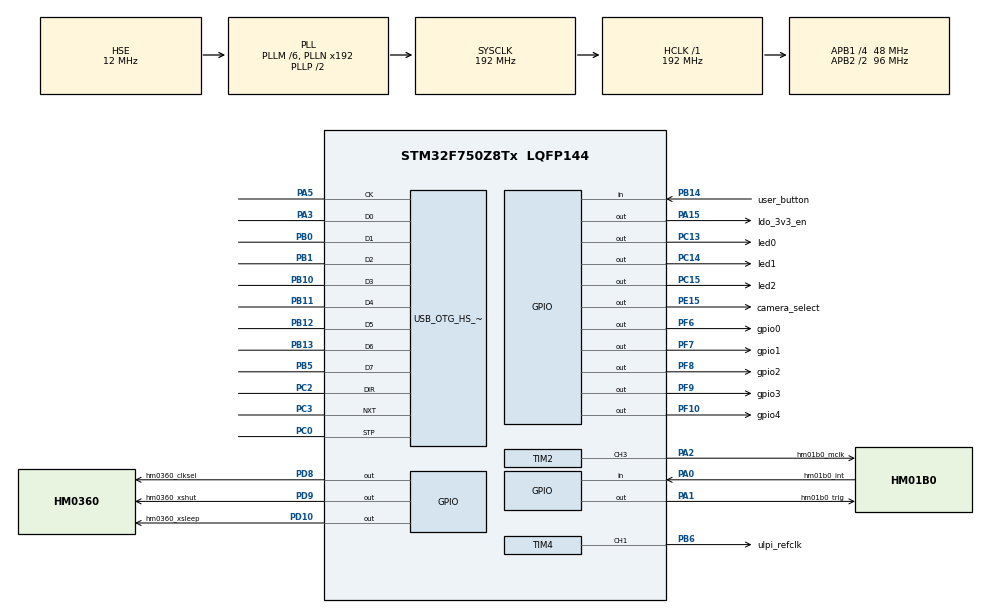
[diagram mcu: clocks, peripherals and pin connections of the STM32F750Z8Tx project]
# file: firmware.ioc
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Mcu.Family=STM32F7
Mcu.Name=STM32F750Z8Tx
Mcu.Package=LQFP144
NVIC.OTG_HS_IRQn=true\:0\:0\:false\:false\:true\:false\:true\:true
NVIC.PriorityGroup=NVIC_PRIORITYGROUP_4
NVIC.TIM3_IRQn=true\:15\:0\:false\:false\:true\:false\:true\:true
NVIC.TimeBase=TIM3_IRQn
NVIC.TimeBaseIP=TIM3
PA0/WKUP.GPIO_Label=hm01b0_int
PA0/WKUP.GPIO_PuPd=GPIO_PULLDOWN
PA0/WKUP.Signal=GPIO_Input
PA1.GPIO_Label=hm01b0_trig
PA1.Signal=GPIO_Output
PA13.Mode=Serial_Wire
PA13.Signal=SYS_JTMS-SWDIO
PA14.Mode=Serial_Wire
PA14.Signal=SYS_JTCK-SWCLK
PA15.GPIO_Label=ldo_3v3_en
PA15.Signal=GPIO_Output
PA2.GPIO_Label=hm01b0_mclk
PA2.GPIO_Speed=GPIO_SPEED_FREQ_HIGH
PA2.Signal=S_TIM2_CH3
PA3.Mode=Device_HS
PA3.Signal=USB_OTG_HS_ULPI_D0
PA5.Mode=Device_HS
PA5.Signal=USB_OTG_HS_ULPI_CK
PB0.Mode=Device_HS
PB0.Signal=USB_OTG_HS_ULPI_D1
PB1.Mode=Device_HS
PB1.Signal=USB_OTG_HS_ULPI_D2
PB10.Mode=Device_HS
PB10.Signal=USB_OTG_HS_ULPI_D3
PB11.Mode=Device_HS
PB11.Signal=USB_OTG_HS_ULPI_D4
PB12.Mode=Device_HS
PB12.Signal=USB_OTG_HS_ULPI_D5
PB13.Mode=Device_HS
PB13.Signal=USB_OTG_HS_ULPI_D6
PB14.GPIO_Label=user_button
PB14.GPIO_PuPd=GPIO_PULLUP
PB14.Signal=GPIO_Input
PB3.Signal=SYS_JTDO-SWO
PB5.Mode=Device_HS
PB5.Signal=USB_OTG_HS_ULPI_D7
PB6.GPIO_Label=ulpi_refclk
PB6.GPIO_Speed=GPIO_SPEED_FREQ_HIGH
PB6.Signal=S_TIM4_CH1
PC0.Mode=Device_HS
PC0.Signal=USB_OTG_HS_ULPI_STP
PC13.GPIO_Label=led0
PC13.Signal=GPIO_Output
PC14/OSC32_IN.GPIO_Label=led1
PC14/OSC32_IN.Signal=GPIO_Output
PC15/OSC32_OUT.GPIO_Label=led2
PC15/OSC32_OUT.Signal=GPIO_Output
PC2.Mode=Device_HS
PC2.Signal=USB_OTG_HS_ULPI_DIR
PC3.Mode=Device_HS
PC3.Signal=USB_OTG_HS_ULPI_NXT
PD10.GPIO_Label=hm0360_xsleep
PD10.Signal=GPIO_Output
PD8.GPIO_Label=hm0360_clksel
PD8.Signal=GPIO_Output
PD9.GPIO_Label=hm0360_xshut
PD9.Signal=GPIO_Output
PE11.GPIO_Label=hm0360_mclk
PE11.GPIO_Speed=GPIO_SPEED_FREQ_HIGH
PE11.Signal=S_TIM1_CH2
PE13.GPIO_Label=hm0360_trig
PE13.Signal=S_TIM1_CH3
PE14.GPIO_Label=hm0360_int
PE14.Signal=S_TIM1_CH4
PE15.GPIO_Label=camera_select
PE15.Signal=GPIO_Output
PF10.GPIO_Label=gpio4
PF10.Signal=GPIO_Output
PF6.GPIO_Label=gpio0
PF6.Signal=GPIO_Output
PF7.GPIO_Label=gpio1
PF7.Signal=GPIO_Output
PF8.GPIO_Label=gpio2
PF8.Signal=GPIO_Output
PF9.GPIO_Label=gpio3
PF9.Signal=GPIO_Output
PH0/OSC_IN.Mode=HSE-External-Oscillator
PH0/OSC_IN.Signal=RCC_OSC_IN
PH1/OSC_OUT.Mode=HSE-External-Oscillator
PH1/OSC_OUT.Signal=RCC_OSC_OUT
ProjectManager.HeapSize=0x200
ProjectManager.StackSize=0x400
ProjectManager.TargetToolchain=Makefile
RCC.AHBFreq_Value=192000000
RCC.APB1CLKDivider=RCC_HCLK_DIV4
RCC.APB1Freq_Value=48000000
RCC.APB1TimFreq_Value=96000000
RCC.APB2CLKDivider=RCC_HCLK_DIV2
RCC.APB2Freq_Value=96000000
RCC.APB2TimFreq_Value=192000000
RCC.CortexFreq_Value=192000000
RCC.HCLKFreq_Value=192000000
RCC.HSE_VALUE=12000000
RCC.HSI_VALUE=16000000
RCC.LSE_VALUE=32768
RCC.PLLM=6
RCC.PLLQ=3
RCC.PLLSAIN=50
RCC.PLLSourceVirtual=RCC_PLLSOURCE_HSE
RCC.SYSCLKFreq_VALUE=192000000
RCC.SYSCLKSource=RCC_SYSCLKSOURCE_PLLCLK
RCC.USBFreq_Value=128000000
RCC.VCOOutputFreq_Value=384000000
SH.S_TIM1_CH2.0=TIM1_CH2
SH.S_TIM1_CH3.0=TIM1_CH3
SH.S_TIM1_CH4.0=TIM1_CH4
SH.S_TIM2_CH3.0=TIM2_CH3,PWM Generation3 CH3
SH.S_TIM4_CH1.0=TIM4_CH1,PWM Generation1 CH1
TIM2.Channel-PWM\ Generation3\ CH3=TIM_CHANNEL_3
TIM4.Channel-PWM\ Generation1\ CH1=TIM_CHANNEL_1
TIM4.OCFastMode_PWM-PWM\ Generation1\ CH1=TIM_OCFAST_ENABLE
TIM4.Period=4
TIM4.Pulse-PWM\ Generation1\ CH1=2
USB_DEVICE.CLASS_NAME_HS=DFU
USB_DEVICE.VirtualMode-DFU_HS=Dfu
USB_DEVICE.VirtualModeHS=Dfu_HS
USB_OTG_HS.VirtualMode-Device_HS=Device_HS
USB_OTG_HS.dma_enable-Device_HS=DISABLE
VP_SYS_VS_tim3.Mode=TIM3
VP_TIM4_VS_ClockSourceINT.Mode=Internal
VP_USB_DEVICE_VS_USB_DEVICE_DFU_HS.Mode=DFU_HS
board=custom

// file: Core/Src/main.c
/* USER CODE BEGIN Header */
/**
  ******************************************************************************
  * @file           : main.c
  * @brief          : Main program body
  ******************************************************************************
  * @attention
  *
  * Copyright (c) 2024 STMicroelectronics.
  * All rights reserved.
  *
  * This software is licensed under terms that can be found in the LICENSE file
  * in the root directory of this software component.
  * If no LICENSE file comes with this software, it is provided AS-IS.
  *
  ******************************************************************************
  */
/* USER CODE END Header */
#include "main.h"
#include "usb_device.h"

TIM_HandleTypeDef htim2;
TIM_HandleTypeDef htim4;

/* USER CODE BEGIN PV */

uint8_t mem_backup[65536];

uint32_t new_reset_vect = 0x0800ffff;

/* USER CODE END PV */

void SystemClock_Config(void);
static void MX_GPIO_Init(void);
static void MX_TIM2_Init(void);
static void MX_TIM4_Init(void);
void StartDefaultTask(void const * argument);

/* USER CODE BEGIN PFP */
void HardFault_Handler(void);
void TIM3_IRQHandler(void);
void OTG_HS_IRQHandler(void);
/* USER CODE END PFP */

/* USER CODE BEGIN 0 */

/**
 * This function erases the bottom 32k of memory.
 * Note that when we do this, we need to write our own reset vector over address 4.
 * Any erase we do of sector 0 should also come with this to avoid soft-bricking the board.
 */
void erase_sector_0()
{
    HAL_FLASH_Unlock();
    FLASH_Erase_Sector(FLASH_SECTOR_0, FLASH_VOLTAGE_RANGE_3);
    FLASH_WaitForLastOperation(1000);

    // write our own reset vector to address 0x0800'0004
    FLASH_Program_Word(0x08000004, 0x0800ffff);
    FLASH_WaitForLastOperation(1000);
}

/**
 * This function erases the top 32k of memory.
 * It preserves all flash content above the bootloader's flash start address.
 */
void erase_sector_1()
{
    HAL_FLASH_Unlock();
    FLASH_Erase_Sector(FLASH_SECTOR_1, FLASH_VOLTAGE_RANGE_3);
    FLASH_WaitForLastOperation(1000);

    // write bootloader back to upper part of memory.
    // all flash content is backed up into mem_backup at startup.
    extern uint32_t __bootloader_start, __bootloader_end;
    for (uint32_t* addr = &__bootloader_start, i = 0; addr < &__bootloader_end; addr++, i++) {
        FLASH_Program_Word(addr, *(((uint32_t*)mem_backup) + i));
        FLASH_WaitForLastOperation(1000);
    }
}

/* USER CODE END 0 */

int main(void)
{
  /* USER CODE BEGIN 1 */
    // copy vector table (located at TODO) into sram
    // TODO: we could shrink the .text section by eliminating the vector table entirely... all
    // Handlers are while(1); except for...
    //  - TIM3_IRQHandler
    //  - OTG_HS_IRQHandler
    const extern uint32_t __vtor_start, __vtor_end, __estack;
    volatile uint32_t* vtors = &__vtor_start;
    const int num_vtors = &__vtor_end - &__vtor_start;
    for (int i = 0; i < num_vtors; i++) {
        vtors[i] = (uint32_t*)HardFault_Handler;
    }
    vtors[0] = &__estack;
    vtors[1] = 0x0800fffe;
    vtors[TIM3_IRQn + 16] = (uint32_t)TIM3_IRQHandler;
    vtors[OTG_HS_IRQn + 16] = (uint32_t)OTG_HS_IRQHandler;

    SCB->VTOR = &__vtor_start;

  /* USER CODE END 1 */

  /* MCU Configuration--------------------------------------------------------*/

  /* Reset of all peripherals, Initializes the Flash interface and the Systick. */
  HAL_Init();

  /* Configure the system clock */
  SystemClock_Config();

  /* Initialize all configured peripherals */
  MX_GPIO_Init();
  MX_TIM2_Init();
  MX_TIM4_Init();
  /* USER CODE BEGIN 2 */

  // unlock flash
  HAL_FLASH_Unlock();

  // enable 3v3 for ULPI transciever
  HAL_GPIO_WritePin(ldo_3v3_en_GPIO_Port, ldo_3v3_en_Pin, GPIO_PIN_SET);

  // Start ULPI refclk which is on TIM4 CH1, which is on APB1 and therefore has a frequency of
  // 96MHz.
  // REFSEL bits for ULPI refclk specify a 19.2MHz oscillator; we have a 192MHz sysclk, so we
  // can derive this from 96MHz. The USB3320C can tolerate a duty cycle of 20 - 80 % on its clock,
  // so it's ok to use TIM4 to divide 96MHz by 5, yielding a duty cycle of 40 or 60%.
  TIM4->CCER = 1;
  TIM4->CR1 |= (1 << 0);

  // backup all of flash memory in case we erase the bootloader portion and need to rewrite it.
  // we really could just do the top part of flash, but the operation only takes ~3ms.
  extern uint32_t __bootloader_start, __bootloader_length;
  memcpy(mem_backup, (void*)(&__bootloader_start), (uint32_t)(&__bootloader_length));

  // THIS CODE IS A DANGER ZONE - if power is lost in the middle, then the board will be
  // soft-bricked and will need to be reprogrammed with a SWD programmer.
  if (1) {
      // turn on LEDs to warn
      HAL_GPIO_WritePin(led0_GPIO_Port, led0_Pin, GPIO_PIN_SET);
      HAL_GPIO_WritePin(led1_GPIO_Port, led1_Pin, GPIO_PIN_SET);
      HAL_GPIO_WritePin(led2_GPIO_Port, led2_Pin, GPIO_PIN_SET);

      erase_sector_0();
      erase_sector_1();

      HAL_GPIO_WritePin(led0_GPIO_Port, led0_Pin, GPIO_PIN_RESET);
      HAL_GPIO_WritePin(led1_GPIO_Port, led1_Pin, GPIO_PIN_RESET);
      HAL_GPIO_WritePin(led2_GPIO_Port, led2_Pin, GPIO_PIN_RESET);
  }

  // should wait for a little bit after the timer is initialized to let the USB startup
  for (volatile int i = 0; i < 200000; i++);

  MX_USB_DEVICE_Init();

/* USER CODE END 2 */

  /* Create the thread(s) */
  /* definition and creation of defaultTask */

  /* USER CODE BEGIN 3 */
  //

  extern uint8_t write_buffer[32768];
  extern uint32_t flash_write_done;
  uint32_t last_button_unpressed_time = 0;
  while (!flash_write_done) {
      // poll to see if there's a new chunk to write to flash memory.
      extern volatile uint32_t pending_flash_op;
      extern volatile uint32_t pending_write_addr;
      extern volatile uint32_t pending_write_len;
      if (pending_flash_op == 1) {
          if (pending_write_addr >= 0x0800a000) {
              // This write would overwrite our bootloader. don't do it!
              pending_flash_op = 0;
          } else {
              HAL_GPIO_WritePin(led0_GPIO_Port, led0_Pin, GPIO_PIN_SET);
              HAL_GPIO_WritePin(led1_GPIO_Port, led1_Pin, GPIO_PIN_SET);
              HAL_GPIO_WritePin(led2_GPIO_Port, led2_Pin, GPIO_PIN_SET);
              // go ahead and do the write.
              for (uint32_t i = 0; i < pending_write_len; i += 4) {
                  const uint32_t targetaddr = pending_write_addr + i;

                  if (targetaddr == 0x08000004) {
                      // if the write is to our reset vector, put it off til the end. Otherwise, go
                      // ahead and do it
                      new_reset_vect = *((uint32_t*)(write_buffer + i));
                  } else {
                      FLASH_Program_Word(targetaddr, *((uint32_t*)(write_buffer + i)));
                      FLASH_WaitForLastOperation(1000);
                  }
              }
              pending_flash_op = 0;
          }
      } else if (pending_flash_op == 2) {
          // erase operation
          HAL_GPIO_WritePin(led0_GPIO_Port, led0_Pin, GPIO_PIN_SET);
          HAL_GPIO_WritePin(led1_GPIO_Port, led1_Pin, GPIO_PIN_SET);
          HAL_GPIO_WritePin(led2_GPIO_Port, led2_Pin, GPIO_PIN_SET);
          if (pending_write_addr == 0x08000000) {
              erase_sector_0();
          } else if (pending_write_addr == 0x08008000) {
              erase_sector_1();
          }
          pending_flash_op = 0;
      }

      // blink LEDs to indicate bootloader status
      HAL_GPIO_WritePin(led0_GPIO_Port, led0_Pin, GPIO_PIN_RESET);
      HAL_GPIO_WritePin(led1_GPIO_Port, led1_Pin, GPIO_PIN_RESET);
      HAL_GPIO_WritePin(led2_GPIO_Port, led2_Pin, GPIO_PIN_RESET);
      const uint32_t tt = ((2 * HAL_GetTick()) % 1000);
      if ((tt >= 0) && (tt < 250)) {
          HAL_GPIO_WritePin(led0_GPIO_Port, led0_Pin, GPIO_PIN_SET);
      } else if (((tt >= 250) && (tt < 500)) || ((tt >= 750) && (tt < 1000))) {
          HAL_GPIO_WritePin(led1_GPIO_Port, led1_Pin, GPIO_PIN_SET);
      } else {
          HAL_GPIO_WritePin(led2_GPIO_Port, led2_Pin, GPIO_PIN_SET);
      }

      if (HAL_GPIO_ReadPin(user_button_GPIO_Port, user_button_Pin)) {
          // if button isn't pressed, update the time
          last_button_unpressed_time = HAL_GetTick();
      }

      if ((HAL_GetTick() - last_button_unpressed_time) > 5000) {
          // if we hold the button down for 5000 millisec, force exit the bootloader.
          flash_write_done = 1;
      }
  }

  FLASH_Program_Word(0x08000004, new_reset_vect);
  FLASH_WaitForLastOperation(1000);

  HAL_GPIO_WritePin(led0_GPIO_Port, led0_Pin, GPIO_PIN_RESET);
  HAL_GPIO_WritePin(led1_GPIO_Port, led1_Pin, GPIO_PIN_RESET);
  HAL_GPIO_WritePin(led2_GPIO_Port, led2_Pin, GPIO_PIN_RESET);

  while (1);
  /* USER CODE END 3 */
}

void SystemClock_Config(void)
{
  RCC_OscInitTypeDef RCC_OscInitStruct = {0};
  RCC_ClkInitTypeDef RCC_ClkInitStruct = {0};

  /** Configure the main internal regulator output voltage
  */
  __HAL_RCC_PWR_CLK_ENABLE();
  __HAL_PWR_VOLTAGESCALING_CONFIG(PWR_REGULATOR_VOLTAGE_SCALE1);

  /** Initializes the RCC Oscillators according to the specified parameters
  * in the RCC_OscInitTypeDef structure.
  */
  RCC_OscInitStruct.OscillatorType = RCC_OSCILLATORTYPE_HSE;
  RCC_OscInitStruct.HSEState = RCC_HSE_ON;
  RCC_OscInitStruct.PLL.PLLState = RCC_PLL_ON;
  RCC_OscInitStruct.PLL.PLLSource = RCC_PLLSOURCE_HSE;
  RCC_OscInitStruct.PLL.PLLM = 6;
  RCC_OscInitStruct.PLL.PLLN = 192;
  RCC_OscInitStruct.PLL.PLLP = RCC_PLLP_DIV2;
  RCC_OscInitStruct.PLL.PLLQ = 3;
  if (HAL_RCC_OscConfig(&RCC_OscInitStruct) != HAL_OK)
  {
    Error_Handler();
  }

  /** Activate the Over-Drive mode
  */
  if (HAL_PWREx_EnableOverDrive() != HAL_OK)
  {
    Error_Handler();
  }

  /** Initializes the CPU, AHB and APB buses clocks
  */
  RCC_ClkInitStruct.ClockType = RCC_CLOCKTYPE_HCLK|RCC_CLOCKTYPE_SYSCLK
                              |RCC_CLOCKTYPE_PCLK1|RCC_CLOCKTYPE_PCLK2;
  RCC_ClkInitStruct.SYSCLKSource = RCC_SYSCLKSOURCE_PLLCLK;
  RCC_ClkInitStruct.AHBCLKDivider = RCC_SYSCLK_DIV1;
  RCC_ClkInitStruct.APB1CLKDivider = RCC_HCLK_DIV4;
  RCC_ClkInitStruct.APB2CLKDivider = RCC_HCLK_DIV2;

  if (HAL_RCC_ClockConfig(&RCC_ClkInitStruct, FLASH_LATENCY_6) != HAL_OK)
  {
    Error_Handler();
  }
}

static void MX_TIM2_Init(void)
{

  TIM_MasterConfigTypeDef sMasterConfig = {0};
  TIM_OC_InitTypeDef sConfigOC = {0};

  htim2.Instance = TIM2;
  htim2.Init.Prescaler = 0;
  htim2.Init.CounterMode = TIM_COUNTERMODE_UP;
  htim2.Init.Period = 4294967295;
  htim2.Init.ClockDivision = TIM_CLOCKDIVISION_DIV1;
  htim2.Init.AutoReloadPreload = TIM_AUTORELOAD_PRELOAD_DISABLE;
  if (HAL_TIM_PWM_Init(&htim2) != HAL_OK)
  {
    Error_Handler();
  }
  sMasterConfig.MasterOutputTrigger = TIM_TRGO_RESET;
  sMasterConfig.MasterSlaveMode = TIM_MASTERSLAVEMODE_DISABLE;
  if (HAL_TIMEx_MasterConfigSynchronization(&htim2, &sMasterConfig) != HAL_OK)
  {
    Error_Handler();
  }
  sConfigOC.OCMode = TIM_OCMODE_PWM1;
  sConfigOC.Pulse = 0;
  sConfigOC.OCPolarity = TIM_OCPOLARITY_HIGH;
  sConfigOC.OCFastMode = TIM_OCFAST_DISABLE;
  if (HAL_TIM_PWM_ConfigChannel(&htim2, &sConfigOC, TIM_CHANNEL_3) != HAL_OK)
  {
    Error_Handler();
  }
  HAL_TIM_MspPostInit(&htim2);

}

static void MX_TIM4_Init(void)
{

  TIM_ClockConfigTypeDef sClockSourceConfig = {0};
  TIM_MasterConfigTypeDef sMasterConfig = {0};
  TIM_OC_InitTypeDef sConfigOC = {0};

  htim4.Instance = TIM4;
  htim4.Init.Prescaler = 0;
  htim4.Init.CounterMode = TIM_COUNTERMODE_UP;
  htim4.Init.Period = 4;
  htim4.Init.ClockDivision = TIM_CLOCKDIVISION_DIV1;
  htim4.Init.AutoReloadPreload = TIM_AUTORELOAD_PRELOAD_DISABLE;
  if (HAL_TIM_Base_Init(&htim4) != HAL_OK)
  {
    Error_Handler();
  }
  sClockSourceConfig.ClockSource = TIM_CLOCKSOURCE_INTERNAL;
  if (HAL_TIM_ConfigClockSource(&htim4, &sClockSourceConfig) != HAL_OK)
  {
    Error_Handler();
  }
  if (HAL_TIM_PWM_Init(&htim4) != HAL_OK)
  {
    Error_Handler();
  }
  sMasterConfig.MasterOutputTrigger = TIM_TRGO_RESET;
  sMasterConfig.MasterSlaveMode = TIM_MASTERSLAVEMODE_DISABLE;
  if (HAL_TIMEx_MasterConfigSynchronization(&htim4, &sMasterConfig) != HAL_OK)
  {
    Error_Handler();
  }
  sConfigOC.OCMode = TIM_OCMODE_PWM1;
  sConfigOC.Pulse = 2;
  sConfigOC.OCPolarity = TIM_OCPOLARITY_HIGH;
  sConfigOC.OCFastMode = TIM_OCFAST_ENABLE;
  if (HAL_TIM_PWM_ConfigChannel(&htim4, &sConfigOC, TIM_CHANNEL_1) != HAL_OK)
  {
    Error_Handler();
  }
  HAL_TIM_MspPostInit(&htim4);

}

static void MX_GPIO_Init(void)
{
  GPIO_InitTypeDef GPIO_InitStruct = {0};

  /* GPIO Ports Clock Enable */
  __HAL_RCC_GPIOC_CLK_ENABLE();
  __HAL_RCC_GPIOF_CLK_ENABLE();
  __HAL_RCC_GPIOH_CLK_ENABLE();
  __HAL_RCC_GPIOA_CLK_ENABLE();
  __HAL_RCC_GPIOB_CLK_ENABLE();
  __HAL_RCC_GPIOE_CLK_ENABLE();
  __HAL_RCC_GPIOD_CLK_ENABLE();

  /*Configure GPIO pin Output Level */
  HAL_GPIO_WritePin(GPIOC, led0_Pin|led1_Pin|led2_Pin, GPIO_PIN_RESET);

  /*Configure GPIO pin Output Level */
  HAL_GPIO_WritePin(GPIOF, gpio0_Pin|gpio1_Pin|gpio2_Pin|gpio3_Pin
                          |gpio4_Pin, GPIO_PIN_RESET);

  /*Configure GPIO pin Output Level */
  HAL_GPIO_WritePin(GPIOA, hm01b0_trig_Pin|ldo_3v3_en_Pin, GPIO_PIN_RESET);

  /*Configure GPIO pin Output Level */
  HAL_GPIO_WritePin(camera_select_GPIO_Port, camera_select_Pin, GPIO_PIN_RESET);

  /*Configure GPIO pin Output Level */
  HAL_GPIO_WritePin(GPIOD, hm0360_clksel_Pin|hm0360_xshut_Pin|hm0360_xsleep_Pin, GPIO_PIN_RESET);

  /*Configure GPIO pins : led0_Pin led1_Pin led2_Pin */
  GPIO_InitStruct.Pin = led0_Pin|led1_Pin|led2_Pin;
  GPIO_InitStruct.Mode = GPIO_MODE_OUTPUT_PP;
  GPIO_InitStruct.Pull = GPIO_NOPULL;
  GPIO_InitStruct.Speed = GPIO_SPEED_FREQ_LOW;
  HAL_GPIO_Init(GPIOC, &GPIO_InitStruct);

  /*Configure GPIO pins : gpio0_Pin gpio1_Pin gpio2_Pin gpio3_Pin
                           gpio4_Pin */
  GPIO_InitStruct.Pin = gpio0_Pin|gpio1_Pin|gpio2_Pin|gpio3_Pin
                          |gpio4_Pin;
  GPIO_InitStruct.Mode = GPIO_MODE_OUTPUT_PP;
  GPIO_InitStruct.Pull = GPIO_NOPULL;
  GPIO_InitStruct.Speed = GPIO_SPEED_FREQ_LOW;
  HAL_GPIO_Init(GPIOF, &GPIO_InitStruct);

  /*Configure GPIO pin : hm01b0_int_Pin */
  GPIO_InitStruct.Pin = hm01b0_int_Pin;
  GPIO_InitStruct.Mode = GPIO_MODE_INPUT;
  GPIO_InitStruct.Pull = GPIO_PULLDOWN;
  HAL_GPIO_Init(hm01b0_int_GPIO_Port, &GPIO_InitStruct);

  /*Configure GPIO pins : hm01b0_trig_Pin ldo_3v3_en_Pin */
  GPIO_InitStruct.Pin = hm01b0_trig_Pin|ldo_3v3_en_Pin;
  GPIO_InitStruct.Mode = GPIO_MODE_OUTPUT_PP;
  GPIO_InitStruct.Pull = GPIO_NOPULL;
  GPIO_InitStruct.Speed = GPIO_SPEED_FREQ_LOW;
  HAL_GPIO_Init(GPIOA, &GPIO_InitStruct);

  /*Configure GPIO pin : hm0360_mclk_Pin */
  GPIO_InitStruct.Pin = hm0360_mclk_Pin;
  GPIO_InitStruct.Mode = GPIO_MODE_AF_PP;
  GPIO_InitStruct.Pull = GPIO_NOPULL;
  GPIO_InitStruct.Speed = GPIO_SPEED_FREQ_HIGH;
  GPIO_InitStruct.Alternate = GPIO_AF1_TIM1;
  HAL_GPIO_Init(hm0360_mclk_GPIO_Port, &GPIO_InitStruct);

  /*Configure GPIO pins : hm0360_trig_Pin hm0360_int_Pin */
  GPIO_InitStruct.Pin = hm0360_trig_Pin|hm0360_int_Pin;
  GPIO_InitStruct.Mode = GPIO_MODE_AF_PP;
  GPIO_InitStruct.Pull = GPIO_NOPULL;
  GPIO_InitStruct.Speed = GPIO_SPEED_FREQ_LOW;
  GPIO_InitStruct.Alternate = GPIO_AF1_TIM1;
  HAL_GPIO_Init(GPIOE, &GPIO_InitStruct);

  /*Configure GPIO pin : camera_select_Pin */
  GPIO_InitStruct.Pin = camera_select_Pin;
  GPIO_InitStruct.Mode = GPIO_MODE_OUTPUT_PP;
  GPIO_InitStruct.Pull = GPIO_NOPULL;
  GPIO_InitStruct.Speed = GPIO_SPEED_FREQ_LOW;
  HAL_GPIO_Init(camera_select_GPIO_Port, &GPIO_InitStruct);

  /*Configure GPIO pin : user_button_Pin */
  GPIO_InitStruct.Pin = user_button_Pin;
  GPIO_InitStruct.Mode = GPIO_MODE_INPUT;
  GPIO_InitStruct.Pull = GPIO_PULLUP;
  HAL_GPIO_Init(user_button_GPIO_Port, &GPIO_InitStruct);

  /*Configure GPIO pins : hm0360_clksel_Pin hm0360_xshut_Pin hm0360_xsleep_Pin */
  GPIO_InitStruct.Pin = hm0360_clksel_Pin|hm0360_xshut_Pin|hm0360_xsleep_Pin;
  GPIO_InitStruct.Mode = GPIO_MODE_OUTPUT_PP;
  GPIO_InitStruct.Pull = GPIO_NOPULL;
  GPIO_InitStruct.Speed = GPIO_SPEED_FREQ_LOW;
  HAL_GPIO_Init(GPIOD, &GPIO_InitStruct);

}

void HAL_TIM_PeriodElapsedCallback(TIM_HandleTypeDef *htim)
{
  if (htim->Instance == TIM3) {
    HAL_IncTick();
  }
}

void Error_Handler(void)
{
  __disable_irq();
  while (1)
  {
  }
}
